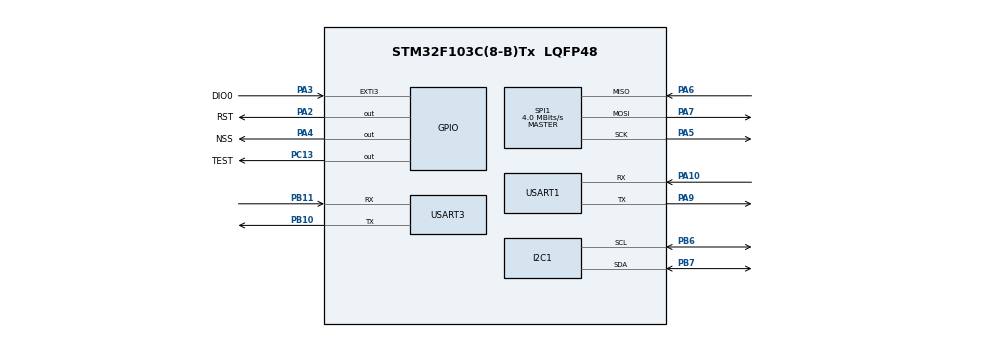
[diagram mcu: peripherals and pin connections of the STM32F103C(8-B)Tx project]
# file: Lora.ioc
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Mcu.Family=STM32F1
Mcu.Name=STM32F103C(8-B)Tx
Mcu.Package=LQFP48
NVIC.EXTI3_IRQn=true\:0\:0\:false\:false\:true\:true\:true\:true
NVIC.PriorityGroup=NVIC_PRIORITYGROUP_4
PA10.Mode=Asynchronous
PA10.Signal=USART1_RX
PA13.Mode=Serial_Wire
PA13.Signal=SYS_JTMS-SWDIO
PA14.Mode=Serial_Wire
PA14.Signal=SYS_JTCK-SWCLK
PA2.GPIO_Label=RST
PA2.Signal=GPIO_Output
PA3.GPIO_Label=DIO0
PA3.GPIO_ModeDefaultEXTI=GPIO_MODE_IT_FALLING
PA3.Signal=GPXTI3
PA4.GPIO_Label=NSS
PA4.Signal=GPIO_Output
PA5.Mode=Full_Duplex_Master
PA5.Signal=SPI1_SCK
PA6.Mode=Full_Duplex_Master
PA6.Signal=SPI1_MISO
PA7.Mode=Full_Duplex_Master
PA7.Signal=SPI1_MOSI
PA9.Mode=Asynchronous
PA9.Signal=USART1_TX
PB10.Mode=Asynchronous
PB10.Signal=USART3_TX
PB11.Mode=Asynchronous
PB11.Signal=USART3_RX
PB6.Mode=I2C
PB6.Signal=I2C1_SCL
PB7.Mode=I2C
PB7.Signal=I2C1_SDA
PC13-TAMPER-RTC.GPIO_Label=TEST
PC13-TAMPER-RTC.Signal=GPIO_Output
PD0-OSC_IN.Mode=HSE-External-Oscillator
PD0-OSC_IN.Signal=RCC_OSC_IN
PD1-OSC_OUT.Mode=HSE-External-Oscillator
PD1-OSC_OUT.Signal=RCC_OSC_OUT
ProjectManager.HeapSize=0x200
ProjectManager.StackSize=0x400
ProjectManager.TargetToolchain=STM32CubeIDE
RCC.APB1Freq_Value=8000000
RCC.APB2Freq_Value=8000000
SPI1.CalculateBaudRate=4.0 MBits/s
SPI1.Direction=SPI_DIRECTION_2LINES
SPI1.Mode=SPI_MODE_MASTER
SPI1.VirtualType=VM_MASTER
USART1.VirtualMode=VM_ASYNC
USART3.VirtualMode=VM_ASYNC
board=custom

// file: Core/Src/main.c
/* USER CODE BEGIN Header */
/**
  ******************************************************************************
  * @file           : main.c
  * @brief          : Main program body
  ******************************************************************************
  * @attention
  *
  * Copyright (c) 2024 STMicroelectronics.
  * All rights reserved.
  *
  * This software is licensed under terms that can be found in the LICENSE file
  * in the root directory of this software component.
  * If no LICENSE file comes with this software, it is provided AS-IS.
  *
  ******************************************************************************
  */
/* USER CODE END Header */
#include "main.h"

/* USER CODE BEGIN Includes */
#include "lora.h"
#include <stdlib.h>
#include "hdc1080.h"
/* USER CODE END Includes */

I2C_HandleTypeDef hi2c1;

SPI_HandleTypeDef hspi1;

UART_HandleTypeDef huart1;
UART_HandleTypeDef huart3;

/* USER CODE BEGIN PV */
LoRa myLoRa;
uint8_t LoRa_stat = 0;
uint8_t RxBuffer[128];
uint8_t TxBuffer[128];

float wind_speed = 0;
uint32_t wind_count = 0;
uint32_t package =0;
extern check;
int __io_putchar(int ch)
{
  uint8_t temp = ch;
  HAL_UART_Transmit(&huart3, &temp, 1, HAL_MAX_DELAY);
  return ch;
}

volatile float temp;
volatile uint8_t humi;
/* USER CODE END PV */

void SystemClock_Config(void);
static void MX_GPIO_Init(void);
static void MX_I2C1_Init(void);
static void MX_SPI1_Init(void);
static void MX_USART1_UART_Init(void);
static void MX_USART3_UART_Init(void);

int main(void)
{

  /* MCU Configuration--------------------------------------------------------*/

  /* Reset of all peripherals, Initializes the Flash interface and the Systick. */
  HAL_Init();

  /* Configure the system clock */
  SystemClock_Config();

  /* Initialize all configured peripherals */
  MX_GPIO_Init();
  MX_I2C1_Init();
  MX_SPI1_Init();
  MX_USART1_UART_Init();
  MX_USART3_UART_Init();
  /* USER CODE BEGIN 2 */
  hdc1080_init(&hi2c1,Temperature_Resolution_14_bit,Humidity_Resolution_14_bit);
  HAL_GPIO_WritePin(TEST_GPIO_Port, TEST_Pin, 1);
  HAL_Delay(2000);
  myLoRa = newLoRa();

  myLoRa.CS_port         = NSS_GPIO_Port;
  myLoRa.CS_pin          = NSS_Pin;
  myLoRa.reset_port      = RST_GPIO_Port;
  myLoRa.reset_pin       = RST_Pin;
  myLoRa.DIO0_port       = DIO0_GPIO_Port;
  myLoRa.DIO0_pin        = DIO0_Pin;
  myLoRa.hSPIx           = &hspi1;

  myLoRa.frequency             = 433;             // default = 433 MHz
  myLoRa.spredingFactor        = SF_7;            // default = SF_7
  myLoRa.bandWidth             = BW_125KHz;       // default = BW_125KHz
  myLoRa.crcRate               = CR_4_5;          // default = CR_4_5
  myLoRa.power                 = POWER_20db;      // default = 20db
  myLoRa.overCurrentProtection = 100;             // default = 100 mA
  myLoRa.preamble              = 8;              // default = 8;

  if(LoRa_init(&myLoRa)==LORA_OK){
	  LoRa_stat = 1;
	  HAL_GPIO_WritePin(TEST_GPIO_Port, TEST_Pin, 0);
  }
  /* USER CODE END 2 */

  /* Infinite loop */
  while (1)
  {

    /* USER CODE BEGIN 3 */
		if(check == 1)
		{
			wind_speed = 0.48*wind_count;
			check = 0;
			wind_count = 0;
			hdc1080_start_measurement(&hi2c1,(float*)&temp,(uint8_t*)&humi);
			snprintf(TxBuffer,sizeof(TxBuffer),"package %d,Toc do gio: %.2f, Luong mua: %d\r\nNhiet do: %.2f, Do am: %d\r\n",package,wind_speed,23,temp,humi);
			HAL_UART_Transmit(&huart3, (uint8_t*)TxBuffer, strlen(TxBuffer), HAL_MAX_DELAY);
			package++;
			LoRa_transmit(&myLoRa, TxBuffer, strlen(TxBuffer), 1000);

		}

  }
  /* USER CODE END 3 */
}

void SystemClock_Config(void)
{
  RCC_OscInitTypeDef RCC_OscInitStruct = {0};
  RCC_ClkInitTypeDef RCC_ClkInitStruct = {0};

  /** Initializes the RCC Oscillators according to the specified parameters
  * in the RCC_OscInitTypeDef structure.
  */
  RCC_OscInitStruct.OscillatorType = RCC_OSCILLATORTYPE_HSI;
  RCC_OscInitStruct.HSIState = RCC_HSI_ON;
  RCC_OscInitStruct.HSICalibrationValue = RCC_HSICALIBRATION_DEFAULT;
  RCC_OscInitStruct.PLL.PLLState = RCC_PLL_NONE;
  if (HAL_RCC_OscConfig(&RCC_OscInitStruct) != HAL_OK)
  {
    Error_Handler();
  }

  /** Initializes the CPU, AHB and APB buses clocks
  */
  RCC_ClkInitStruct.ClockType = RCC_CLOCKTYPE_HCLK|RCC_CLOCKTYPE_SYSCLK
                              |RCC_CLOCKTYPE_PCLK1|RCC_CLOCKTYPE_PCLK2;
  RCC_ClkInitStruct.SYSCLKSource = RCC_SYSCLKSOURCE_HSI;
  RCC_ClkInitStruct.AHBCLKDivider = RCC_SYSCLK_DIV1;
  RCC_ClkInitStruct.APB1CLKDivider = RCC_HCLK_DIV1;
  RCC_ClkInitStruct.APB2CLKDivider = RCC_HCLK_DIV1;

  if (HAL_RCC_ClockConfig(&RCC_ClkInitStruct, FLASH_LATENCY_0) != HAL_OK)
  {
    Error_Handler();
  }
}

static void MX_I2C1_Init(void)
{

  hi2c1.Instance = I2C1;
  hi2c1.Init.ClockSpeed = 100000;
  hi2c1.Init.DutyCycle = I2C_DUTYCYCLE_2;
  hi2c1.Init.OwnAddress1 = 0;
  hi2c1.Init.AddressingMode = I2C_ADDRESSINGMODE_7BIT;
  hi2c1.Init.DualAddressMode = I2C_DUALADDRESS_DISABLE;
  hi2c1.Init.OwnAddress2 = 0;
  hi2c1.Init.GeneralCallMode = I2C_GENERALCALL_DISABLE;
  hi2c1.Init.NoStretchMode = I2C_NOSTRETCH_DISABLE;
  if (HAL_I2C_Init(&hi2c1) != HAL_OK)
  {
    Error_Handler();
  }

}

static void MX_SPI1_Init(void)
{

  /* SPI1 parameter configuration*/
  hspi1.Instance = SPI1;
  hspi1.Init.Mode = SPI_MODE_MASTER;
  hspi1.Init.Direction = SPI_DIRECTION_2LINES;
  hspi1.Init.DataSize = SPI_DATASIZE_8BIT;
  hspi1.Init.CLKPolarity = SPI_POLARITY_LOW;
  hspi1.Init.CLKPhase = SPI_PHASE_1EDGE;
  hspi1.Init.NSS = SPI_NSS_SOFT;
  hspi1.Init.BaudRatePrescaler = SPI_BAUDRATEPRESCALER_2;
  hspi1.Init.FirstBit = SPI_FIRSTBIT_MSB;
  hspi1.Init.TIMode = SPI_TIMODE_DISABLE;
  hspi1.Init.CRCCalculation = SPI_CRCCALCULATION_DISABLE;
  hspi1.Init.CRCPolynomial = 10;
  if (HAL_SPI_Init(&hspi1) != HAL_OK)
  {
    Error_Handler();
  }

}

static void MX_USART1_UART_Init(void)
{

  huart1.Instance = USART1;
  huart1.Init.BaudRate = 115200;
  huart1.Init.WordLength = UART_WORDLENGTH_8B;
  huart1.Init.StopBits = UART_STOPBITS_1;
  huart1.Init.Parity = UART_PARITY_NONE;
  huart1.Init.Mode = UART_MODE_TX_RX;
  huart1.Init.HwFlowCtl = UART_HWCONTROL_NONE;
  huart1.Init.OverSampling = UART_OVERSAMPLING_16;
  if (HAL_UART_Init(&huart1) != HAL_OK)
  {
    Error_Handler();
  }

}

static void MX_USART3_UART_Init(void)
{

  huart3.Instance = USART3;
  huart3.Init.BaudRate = 115200;
  huart3.Init.WordLength = UART_WORDLENGTH_8B;
  huart3.Init.StopBits = UART_STOPBITS_1;
  huart3.Init.Parity = UART_PARITY_NONE;
  huart3.Init.Mode = UART_MODE_TX_RX;
  huart3.Init.HwFlowCtl = UART_HWCONTROL_NONE;
  huart3.Init.OverSampling = UART_OVERSAMPLING_16;
  if (HAL_UART_Init(&huart3) != HAL_OK)
  {
    Error_Handler();
  }

}

static void MX_GPIO_Init(void)
{
  GPIO_InitTypeDef GPIO_InitStruct = {0};

  /* GPIO Ports Clock Enable */
  __HAL_RCC_GPIOC_CLK_ENABLE();
  __HAL_RCC_GPIOD_CLK_ENABLE();
  __HAL_RCC_GPIOA_CLK_ENABLE();
  __HAL_RCC_GPIOB_CLK_ENABLE();

  /*Configure GPIO pin Output Level */
  HAL_GPIO_WritePin(TEST_GPIO_Port, TEST_Pin, GPIO_PIN_RESET);

  /*Configure GPIO pin Output Level */
  HAL_GPIO_WritePin(GPIOA, RST_Pin|NSS_Pin, GPIO_PIN_RESET);

  /*Configure GPIO pin : TEST_Pin */
  GPIO_InitStruct.Pin = TEST_Pin;
  GPIO_InitStruct.Mode = GPIO_MODE_OUTPUT_PP;
  GPIO_InitStruct.Pull = GPIO_NOPULL;
  GPIO_InitStruct.Speed = GPIO_SPEED_FREQ_LOW;
  HAL_GPIO_Init(TEST_GPIO_Port, &GPIO_InitStruct);

  /*Configure GPIO pins : RST_Pin NSS_Pin */
  GPIO_InitStruct.Pin = RST_Pin|NSS_Pin;
  GPIO_InitStruct.Mode = GPIO_MODE_OUTPUT_PP;
  GPIO_InitStruct.Pull = GPIO_NOPULL;
  GPIO_InitStruct.Speed = GPIO_SPEED_FREQ_LOW;
  HAL_GPIO_Init(GPIOA, &GPIO_InitStruct);

  /*Configure GPIO pin : DIO0_Pin */
  GPIO_InitStruct.Pin = DIO0_Pin;
  GPIO_InitStruct.Mode = GPIO_MODE_IT_FALLING;
  GPIO_InitStruct.Pull = GPIO_NOPULL;
  HAL_GPIO_Init(DIO0_GPIO_Port, &GPIO_InitStruct);

  /* EXTI interrupt init*/
  HAL_NVIC_SetPriority(EXTI3_IRQn, 0, 0);
  HAL_NVIC_EnableIRQ(EXTI3_IRQn);

}

/* USER CODE BEGIN 4 */
void HAL_GPIO_EXTI_Callback(uint16_t GPIO_Pin){
	if(GPIO_Pin == myLoRa.DIO0_pin){
		//HAL_GPIO_TogglePin(TEST_GPIO_Port, TEST_Pin);
		//HAL_Delay(2000);
		  LoRa_receive(&myLoRa, RxBuffer, 128);
		  printf(RxBuffer);
	}
}
/* USER CODE END 4 */

void Error_Handler(void)
{
  __disable_irq();
  while (1)
  {
  }
}
